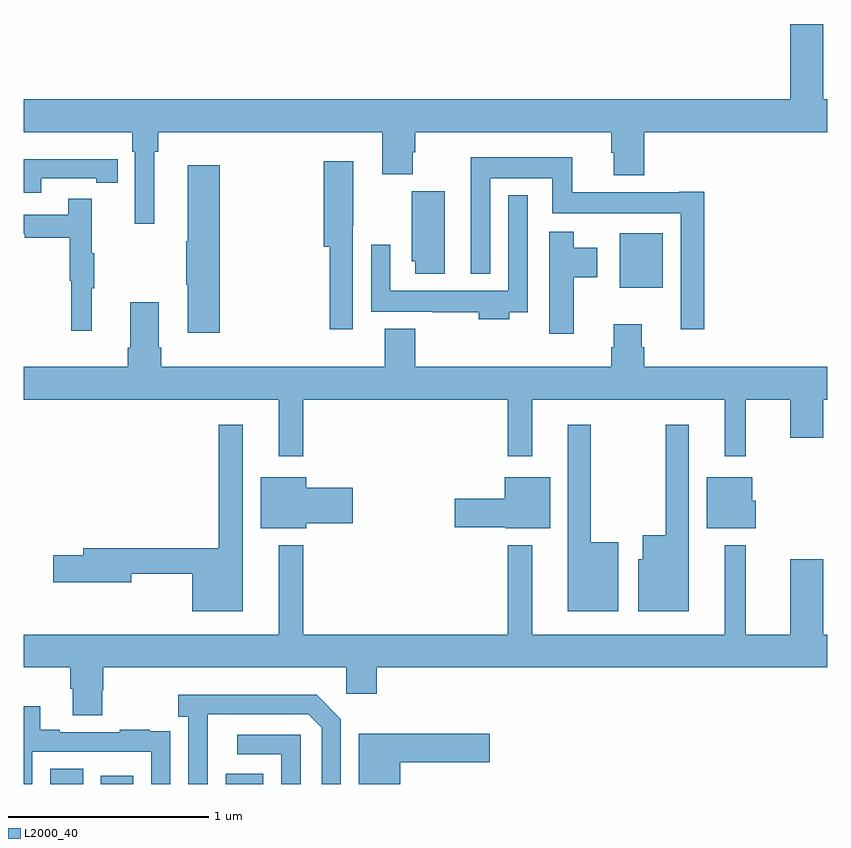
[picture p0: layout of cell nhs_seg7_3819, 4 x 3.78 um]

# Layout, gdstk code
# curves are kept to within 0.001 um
import gdstk
lib = gdstk.Library(unit=1e-6, precision=1e-09)
def R(c, l, rs):  # rectangles x0, y0, x1, y1
    for r in rs: c.add(gdstk.rectangle(r[:2], r[2:], *l))
def P(c, l, *ps):  # polygons
    for p in ps: c.add(gdstk.Polygon(p, *l))
L2000_40 = (2000, 40)

nhs_seg7_3819 = lib.new_cell('nhs_seg7_3819')
R(nhs_seg7_3819, L2000_40, [(353.132,1036,353.296,1036.076), (353.384,1036,353.545,1036.042), (354.005,1036,354.193,1036.051), (355.967,1038.47,356.182,1038.742)])
P(nhs_seg7_3819, L2000_40, [(353.65,1039.148),(353.669,1039.148),(353.669,1039.244),(354.785,1039.244),(354.785,1039.036),(354.937,1039.036),(354.937,1039.145),(354.95,1039.145),(354.95,1039.244),(355.925,1039.244),(355.925,1039.143),(355.937,1039.143),(355.937,1039.031),(356.09,1039.031),(356.09,1039.244),(357,1039.244),(357,1039.408),(356.98,1039.408),(356.98,1039.783),(356.816,1039.783),(356.816,1039.408),(353,1039.408),(353,1039.244),(353.54,1039.244),(353.54,1039.148),(353.553,1039.148),(353.553,1038.789),(353.65,1038.789)],
  [(356.387,1038.949),(356.264,1038.949),(356.264,1038.946),(355.73,1038.946),(355.73,1039.12),(355.226,1039.12),(355.226,1038.539),(355.323,1038.539),(355.323,1039.016),(355.632,1039.016),(355.632,1038.842),(356.271,1038.842),(356.271,1038.264),(356.387,1038.264)],
  [(353.088,1039.014),(353.36,1039.014),(353.36,1038.994),(353.468,1038.994),(353.468,1039.11),(353.36,1039.11),(353.36,1039.111),(353,1039.111),(353,1038.942),(353.088,1038.942)],
  [(354.639,1038.778),(354.64,1038.778),(354.64,1039.099),(354.494,1039.099),(354.494,1038.674),(354.523,1038.674),(354.523,1038.264),(354.639,1038.264)],
  [(353.975,1039.081),(353.816,1039.081),(353.816,1038.701),(353.809,1038.701),(353.809,1038.484),(353.816,1038.484),(353.816,1038.246),(353.975,1038.246)],
  [(355.096,1038.951),(354.932,1038.951),(354.932,1038.603),(354.95,1038.603),(354.95,1038.54),(355.096,1038.54)],
  [(355.417,1038.348),(355.509,1038.348),(355.509,1038.931),(355.413,1038.931),(355.413,1038.454),(354.825,1038.454),(354.825,1038.685),(354.729,1038.685),(354.729,1038.35),(355.033,1038.35),(355.033,1038.348),(355.265,1038.348),(355.265,1038.314),(355.417,1038.314)],
  [(353.339,1038.467),(353.35,1038.467),(353.35,1038.641),(353.339,1038.641),(353.339,1038.913),(353.221,1038.913),(353.221,1038.834),(353,1038.834),(353,1038.738),(353.005,1038.738),(353.005,1038.718),(353.229,1038.718),(353.229,1038.504),(353.236,1038.504),(353.236,1038.255),(353.339,1038.255)],
  [(355.738,1038.523),(355.855,1038.523),(355.855,1038.67),(355.738,1038.67),(355.738,1038.748),(355.616,1038.748),(355.616,1038.24),(355.738,1038.24)],
  [(354.391,1037.912),(355.41,1037.912),(355.41,1037.631),(355.531,1037.631),(355.531,1037.912),(356.489,1037.912),(356.489,1037.631),(356.593,1037.631),(356.593,1037.912),(356.816,1037.912),(356.816,1037.724),(356.98,1037.724),(356.98,1037.912),(357,1037.912),(357,1038.076),(356.09,1038.076),(356.09,1038.174),(356.077,1038.174),(356.077,1038.289),(355.937,1038.289),(355.937,1038.174),(355.925,1038.174),(355.925,1038.076),(354.95,1038.076),(354.95,1038.265),(354.797,1038.265),(354.797,1038.076),(353.684,1038.076),(353.684,1038.172),(353.671,1038.172),(353.671,1038.397),(353.531,1038.397),(353.531,1038.172),(353.519,1038.172),(353.519,1038.076),(353,1038.076),(353,1037.912),(354.269,1037.912),(354.269,1037.631),(354.391,1037.631)],
  [(354.091,1037.788),(353.97,1037.788),(353.97,1037.174),(353.297,1037.174),(353.297,1037.138),(353.148,1037.138),(353.148,1037.003),(353.536,1037.003),(353.536,1037.046),(353.84,1037.046),(353.84,1036.859),(354.091,1036.859)],
  [(356.311,1037.788),(356.197,1037.788),(356.197,1037.239),(356.081,1037.239),(356.081,1037.118),(356.06,1037.118),(356.06,1036.859),(356.311,1036.859)],
  [(355.96,1037.203),(355.823,1037.203),(355.823,1037.788),(355.709,1037.788),(355.709,1036.859),(355.96,1036.859)],
  [(354.406,1037.297),(354.637,1037.297),(354.637,1037.475),(354.406,1037.475),(354.406,1037.527),(354.179,1037.527),(354.179,1037.273),(354.406,1037.273)],
  [(356.644,1037.409),(356.626,1037.409),(356.626,1037.527),(356.399,1037.527),(356.399,1037.273),(356.644,1037.273)],
  [(355.621,1037.527),(355.394,1037.527),(355.394,1037.421),(355.146,1037.421),(355.146,1037.279),(355.398,1037.279),(355.398,1037.273),(355.621,1037.273)],
  [(353,1036.58),(353.231,1036.58),(353.231,1036.474),(353.243,1036.474),(353.243,1036.342),(353.391,1036.342),(353.391,1036.467),(353.396,1036.467),(353.396,1036.58),(354.606,1036.58),(354.606,1036.449),(354.758,1036.449),(354.758,1036.58),(357,1036.58),(357,1036.744),(356.98,1036.744),(356.98,1037.119),(356.816,1037.119),(356.816,1036.744),(356.593,1036.744),(356.593,1037.188),(356.489,1037.188),(356.489,1036.744),(355.531,1036.744),(355.531,1037.188),(355.41,1037.188),(355.41,1036.744),(354.391,1036.744),(354.391,1037.188),(354.269,1037.188),(354.269,1036.744),(353,1036.744)],
  [(353.916,1036.147),(353.917,1036.347),(354.417,1036.347),(354.483,1036.281),(354.483,1036),(354.579,1036),(354.579,1036.323),(354.458,1036.444),(353.769,1036.444),(353.769,1036.334),(353.82,1036.334),(353.82,1036),(353.916,1036)],
  [(353.043,1036.161),(353.634,1036.161),(353.634,1036),(353.73,1036),(353.73,1036.154),(353.729,1036.154),(353.729,1036.263),(353.627,1036.263),(353.627,1036.27),(353.479,1036.27),(353.479,1036.257),(353.179,1036.257),(353.179,1036.27),(353.083,1036.27),(353.083,1036.387),(353,1036.387),(353,1036),(353.043,1036)],
  [(354.875,1036.109),(355.321,1036.109),(355.321,1036.251),(354.668,1036.251),(354.668,1036),(354.875,1036)],
  [(354.378,1036.245),(354.063,1036.245),(354.063,1036.149),(354.282,1036.149),(354.282,1036),(354.378,1036)])

lib.write_gds('nhs_seg7_3819.gds')
